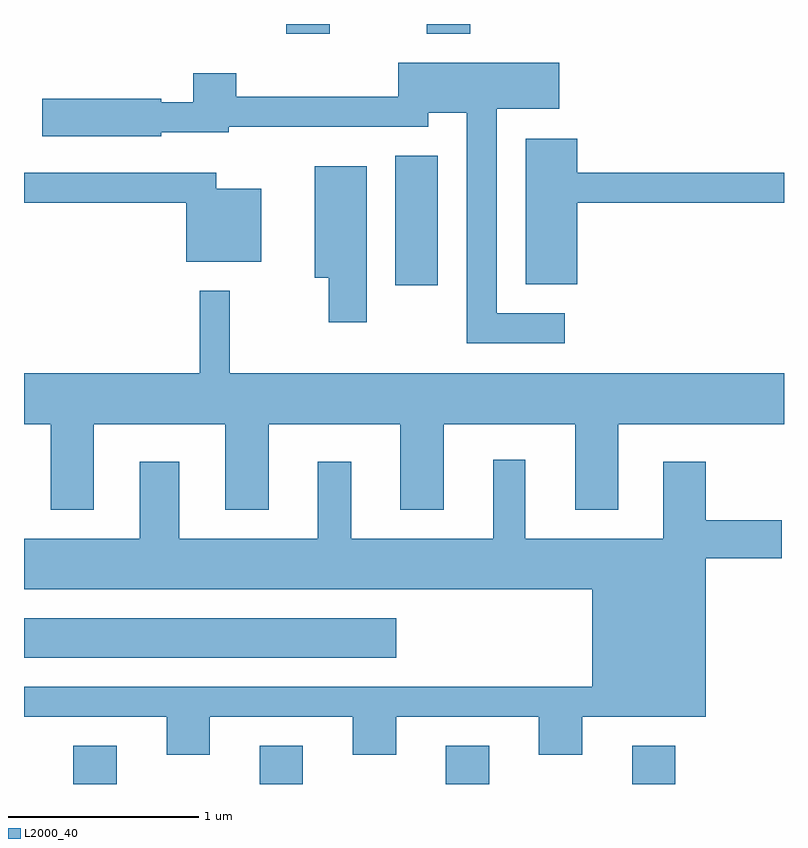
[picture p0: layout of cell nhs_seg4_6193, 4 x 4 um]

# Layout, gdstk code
import gdstk
lib = gdstk.Library(unit=1e-6, precision=1e-09)
def R(c, l, rs):  # rectangles x0, y0, x1, y1
    for r in rs: c.add(gdstk.rectangle(r[:2], r[2:], *l))
def A(c, l, x, y, w, h, nx, ny, dx, dy):  # array of equal rectangles
    R(c, l, [(x+i*dx, y+j*dy, x+i*dx+w, y+j*dy+h) for i in range(nx) for j in range(ny)])
def P(c, l, *ps):  # polygons
    for p in ps: c.add(gdstk.Polygon(p, *l))
L2000_40 = (2000, 40)

nhs_seg4_6193 = lib.new_cell('nhs_seg4_6193')
A(nhs_seg4_6193, L2000_40, 367.871, 1263.982, 0.228, 0.202, 4, 1, 0.98, 0)
R(nhs_seg4_6193, L2000_40, [(367.611,1264.646,369.569,1264.854), (369.566,1266.606,369.789,1267.289), (368.991,1267.931,369.219,1267.982), (369.731,1267.931,369.959,1267.982)])
P(nhs_seg4_6193, L2000_40, [(370.458,1266.459),(370.099,1266.459),(370.099,1267.536),(370.429,1267.536),(370.429,1267.779),(369.581,1267.779),(369.581,1267.599),(368.729,1267.599),(368.729,1267.724),(368.501,1267.724),(368.501,1267.569),(368.334,1267.569),(368.334,1267.589),(367.706,1267.589),(367.706,1267.391),(368.334,1267.391),(368.334,1267.411),(368.689,1267.411),(368.689,1267.441),(369.739,1267.441),(369.739,1267.516),(369.941,1267.516),(369.941,1266.301),(370.458,1266.301)],
  [(370.524,1267.041),(371.611,1267.041),(371.611,1267.199),(370.524,1267.199),(370.524,1267.379),(370.251,1267.379),(370.251,1266.611),(370.524,1266.611)],
  [(369.414,1267.234),(369.141,1267.234),(369.141,1266.646),(369.216,1266.646),(369.216,1266.411),(369.414,1266.411)],
  [(368.859,1267.114),(368.624,1267.114),(368.624,1267.199),(367.611,1267.199),(367.611,1267.041),(368.466,1267.041),(368.466,1266.731),(368.859,1266.731)],
  [(367.979,1265.876),(368.671,1265.876),(368.671,1265.426),(368.899,1265.426),(368.899,1265.876),(369.591,1265.876),(369.591,1265.426),(369.819,1265.426),(369.819,1265.876),(370.511,1265.876),(370.511,1265.426),(370.739,1265.426),(370.739,1265.876),(371.611,1265.876),(371.611,1266.144),(368.694,1266.144),(368.694,1266.578),(368.536,1266.578),(368.536,1266.144),(367.611,1266.144),(367.611,1265.876),(367.751,1265.876),(367.751,1265.426),(367.979,1265.426)],
  [(368.589,1264.336),(369.341,1264.336),(369.341,1264.136),(369.569,1264.136),(369.569,1264.336),(370.321,1264.336),(370.321,1264.136),(370.549,1264.136),(370.549,1264.336),(371.199,1264.336),(371.199,1265.171),(371.599,1265.171),(371.599,1265.369),(371.199,1265.369),(371.199,1265.679),(370.976,1265.679),(370.976,1265.274),(370.249,1265.274),(370.249,1265.688),(370.081,1265.688),(370.081,1265.274),(369.334,1265.274),(369.334,1265.679),(369.156,1265.679),(369.156,1265.274),(368.429,1265.274),(368.429,1265.679),(368.221,1265.679),(368.221,1265.274),(367.611,1265.274),(367.611,1265.006),(370.601,1265.006),(370.601,1264.494),(367.611,1264.494),(367.611,1264.336),(368.361,1264.336),(368.361,1264.136),(368.589,1264.136)])

lib.write_gds('nhs_seg4_6193.gds')
